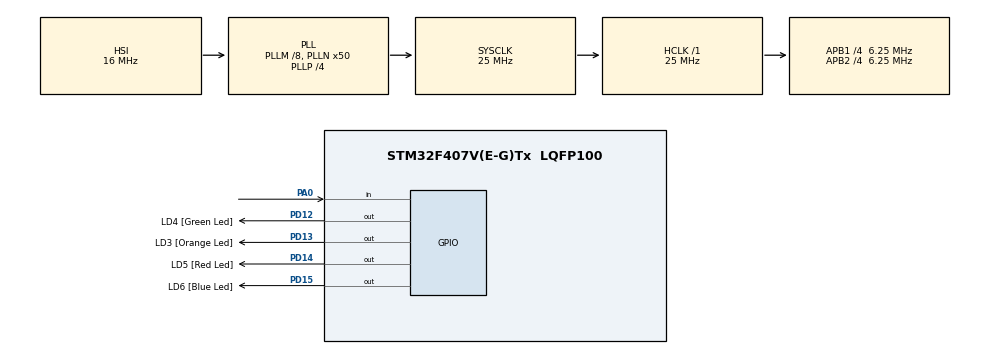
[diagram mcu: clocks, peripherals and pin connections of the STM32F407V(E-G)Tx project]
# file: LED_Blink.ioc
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Mcu.Family=STM32F4
Mcu.Name=STM32F407V(E-G)Tx
Mcu.Package=LQFP100
NVIC.PriorityGroup=NVIC_PRIORITYGROUP_0
PA0-WKUP.Signal=GPIO_Input
PA13.Mode=Serial_Wire
PA13.Signal=SYS_JTMS-SWDIO
PA14.Mode=Serial_Wire
PA14.Signal=SYS_JTCK-SWCLK
PD12.GPIO_Label=LD4 [Green Led]
PD12.GPIO_PuPd=GPIO_NOPULL
PD12.GPIO_Speed=GPIO_SPEED_FREQ_LOW
PD12.Signal=GPIO_Output
PD13.GPIO_Label=LD3 [Orange Led]
PD13.GPIO_PuPd=GPIO_NOPULL
PD13.GPIO_Speed=GPIO_SPEED_FREQ_LOW
PD13.Signal=GPIO_Output
PD14.GPIO_Label=LD5 [Red Led]
PD14.GPIO_PuPd=GPIO_NOPULL
PD14.GPIO_Speed=GPIO_SPEED_FREQ_LOW
PD14.Signal=GPIO_Output
PD15.GPIO_Label=LD6 [Blue Led]
PD15.GPIO_PuPd=GPIO_NOPULL
PD15.GPIO_Speed=GPIO_SPEED_FREQ_LOW
PD15.Signal=GPIO_Output
ProjectManager.HeapSize=0x200
ProjectManager.StackSize=0x400
ProjectManager.TargetToolchain=STM32CubeIDE
RCC.48MHZClocksFreq_Value=14285714.285714285
RCC.AHBFreq_Value=25000000
RCC.APB1CLKDivider=RCC_HCLK_DIV4
RCC.APB1Freq_Value=6250000
RCC.APB1TimFreq_Value=12500000
RCC.APB2CLKDivider=RCC_HCLK_DIV4
RCC.APB2Freq_Value=6250000
RCC.APB2TimFreq_Value=12500000
RCC.CortexFreq_Value=25000000
RCC.HCLKFreq_Value=25000000
RCC.HSE_VALUE=8000000
RCC.HSI_VALUE=16000000
RCC.PLLM=8
RCC.PLLN=50
RCC.PLLP=RCC_PLLP_DIV4
RCC.PLLQ=7
RCC.SYSCLKFreq_VALUE=25000000
RCC.SYSCLKSource=RCC_SYSCLKSOURCE_PLLCLK
RCC.VCOOutputFreq_Value=100000000
board=STM32F407G-DISC1

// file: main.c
/* USER CODE BEGIN Header */
/**
  ******************************************************************************
  * @file           : main.c
  * @brief          : Main program body
  ******************************************************************************
  * @attention
  *
  * Copyright (c) 2022 STMicroelectronics.
  * All rights reserved.
  *
  * This software is licensed under terms that can be found in the LICENSE file
  * in the root directory of this software component.
  * If no LICENSE file comes with this software, it is provided AS-IS.
  *
  ******************************************************************************
  */
/* USER CODE END Header */
#include "main.h"

/* USER CODE BEGIN PV */
int count=0;
/* USER CODE END PV */

void SystemClock_Config(void);
static void MX_GPIO_Init(void);

int main(void)
{

  /* MCU Configuration--------------------------------------------------------*/

  /* Reset of all peripherals, Initializes the Flash interface and the Systick. */
  HAL_Init();

  /* Configure the system clock */
  SystemClock_Config();

  /* Initialize all configured peripherals */
  MX_GPIO_Init();

  /* Infinite loop */
  /* USER CODE BEGIN WHILE */
  while (1)
  {
	  if (HAL_GPIO_ReadPin(GPIOA, GPIO_PIN_0))
	     {
	      while (HAL_GPIO_ReadPin(GPIOA, GPIO_PIN_0));
	      HAL_Delay(100);

	      count++;
	     }

	    if(count%2 == 0)
	    {
	 	  // HAL_GPIO_WritePin(GPIOD, GPIO_PIN_12 | GPIO_PIN_13 | GPIO_PIN_14 | GPIO_PIN_15);
	       // HAL_Delay(1000);
	        HAL_GPIO_WritePin(GPIOD, GPIO_PIN_12, GPIO_PIN_SET);

	        HAL_GPIO_WritePin(GPIOD, GPIO_PIN_12, GPIO_PIN_RESET);
	        HAL_Delay(100);
	        HAL_GPIO_WritePin(GPIOD, GPIO_PIN_13, GPIO_PIN_SET);

	        HAL_GPIO_WritePin(GPIOD, GPIO_PIN_13, GPIO_PIN_RESET);
	        HAL_Delay(100);
	        HAL_GPIO_WritePin(GPIOD, GPIO_PIN_14, GPIO_PIN_SET);

	        HAL_GPIO_WritePin(GPIOD, GPIO_PIN_14, GPIO_PIN_RESET);
	        HAL_Delay(100);
	        HAL_GPIO_WritePin(GPIOD, GPIO_PIN_15, GPIO_PIN_SET);

	        HAL_GPIO_WritePin(GPIOD, GPIO_PIN_15, GPIO_PIN_RESET);
	    }

    /* USER CODE END WHILE */

  }
}

void SystemClock_Config(void)
{
  RCC_OscInitTypeDef RCC_OscInitStruct = {0};
  RCC_ClkInitTypeDef RCC_ClkInitStruct = {0};

  /** Configure the main internal regulator output voltage
  */
  __HAL_RCC_PWR_CLK_ENABLE();
  __HAL_PWR_VOLTAGESCALING_CONFIG(PWR_REGULATOR_VOLTAGE_SCALE1);

  /** Initializes the RCC Oscillators according to the specified parameters
  * in the RCC_OscInitTypeDef structure.
  */
  RCC_OscInitStruct.OscillatorType = RCC_OSCILLATORTYPE_HSI;
  RCC_OscInitStruct.HSIState = RCC_HSI_ON;
  RCC_OscInitStruct.HSICalibrationValue = RCC_HSICALIBRATION_DEFAULT;
  RCC_OscInitStruct.PLL.PLLState = RCC_PLL_ON;
  RCC_OscInitStruct.PLL.PLLSource = RCC_PLLSOURCE_HSI;
  RCC_OscInitStruct.PLL.PLLM = 8;
  RCC_OscInitStruct.PLL.PLLN = 50;
  RCC_OscInitStruct.PLL.PLLP = RCC_PLLP_DIV4;
  RCC_OscInitStruct.PLL.PLLQ = 7;
  if (HAL_RCC_OscConfig(&RCC_OscInitStruct) != HAL_OK)
  {
    Error_Handler();
  }

  /** Initializes the CPU, AHB and APB buses clocks
  */
  RCC_ClkInitStruct.ClockType = RCC_CLOCKTYPE_HCLK|RCC_CLOCKTYPE_SYSCLK
                              |RCC_CLOCKTYPE_PCLK1|RCC_CLOCKTYPE_PCLK2;
  RCC_ClkInitStruct.SYSCLKSource = RCC_SYSCLKSOURCE_PLLCLK;
  RCC_ClkInitStruct.AHBCLKDivider = RCC_SYSCLK_DIV1;
  RCC_ClkInitStruct.APB1CLKDivider = RCC_HCLK_DIV4;
  RCC_ClkInitStruct.APB2CLKDivider = RCC_HCLK_DIV4;

  if (HAL_RCC_ClockConfig(&RCC_ClkInitStruct, FLASH_LATENCY_0) != HAL_OK)
  {
    Error_Handler();
  }
}

static void MX_GPIO_Init(void)
{
  GPIO_InitTypeDef GPIO_InitStruct = {0};

  /* GPIO Ports Clock Enable */
  __HAL_RCC_GPIOA_CLK_ENABLE();
  __HAL_RCC_GPIOD_CLK_ENABLE();

  /*Configure GPIO pin Output Level */
  HAL_GPIO_WritePin(GPIOD, LD4_Pin|LD3_Pin|LD5_Pin|LD6_Pin, GPIO_PIN_RESET);

  /*Configure GPIO pin : B1_Pin */

  /*Configure GPIO pins : LD4_Pin LD3_Pin LD5_Pin LD6_Pin */
  GPIO_InitStruct.Pin = LD4_Pin|LD3_Pin|LD5_Pin|LD6_Pin;
  GPIO_InitStruct.Mode = GPIO_MODE_OUTPUT_PP;
  GPIO_InitStruct.Pull = GPIO_NOPULL;
  GPIO_InitStruct.Speed = GPIO_SPEED_FREQ_LOW;
  HAL_GPIO_Init(GPIOD, &GPIO_InitStruct);

}

void Error_Handler(void)
{
  __disable_irq();
  while (1)
  {
  }
}
